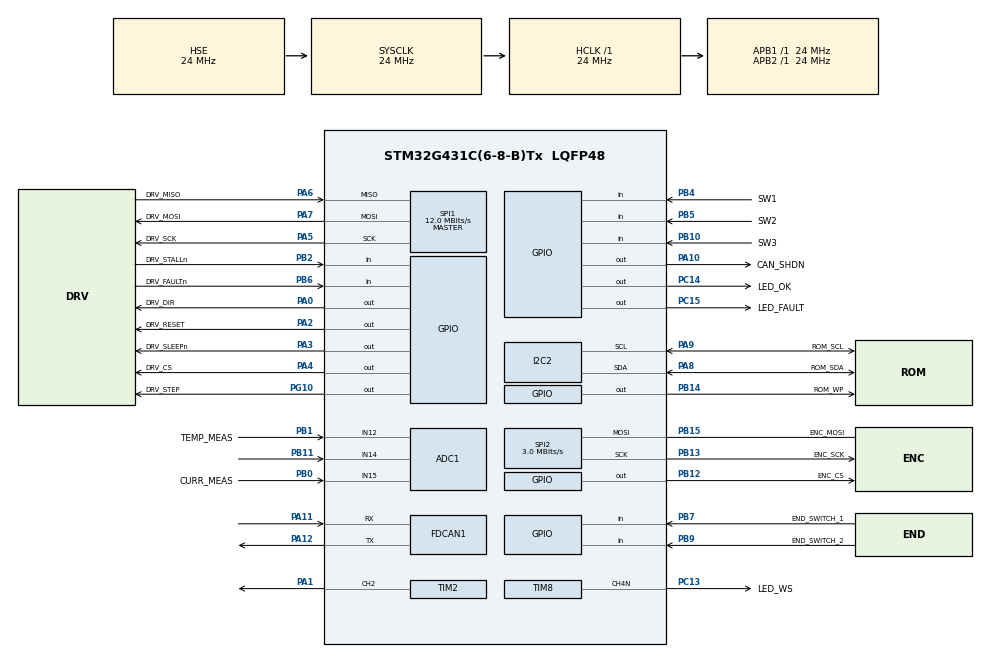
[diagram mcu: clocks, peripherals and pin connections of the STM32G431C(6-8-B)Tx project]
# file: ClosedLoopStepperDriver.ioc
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ADC1.Channel-0\#ChannelRegularConversion=ADC_CHANNEL_15
ADC1.ClockPrescaler=ADC_CLOCK_SYNC_PCLK_DIV4
ADC1.NbrOfConversionFlag=1
ADC1.OffsetNumber-0\#ChannelRegularConversion=ADC_OFFSET_NONE
ADC1.Rank-0\#ChannelRegularConversion=1
ADC1.SamplingTime-0\#ChannelRegularConversion=ADC_SAMPLETIME_2CYCLES_5
ADC1.master=1
Dma.Request0=TIM8_CH4
Dma.TIM8_CH4.0.Direction=DMA_MEMORY_TO_PERIPH
Dma.TIM8_CH4.0.EventEnable=DISABLE
Dma.TIM8_CH4.0.Instance=DMA1_Channel1
Dma.TIM8_CH4.0.MemDataAlignment=DMA_MDATAALIGN_BYTE
Dma.TIM8_CH4.0.MemInc=DMA_MINC_ENABLE
Dma.TIM8_CH4.0.Mode=DMA_NORMAL
Dma.TIM8_CH4.0.PeriphDataAlignment=DMA_PDATAALIGN_HALFWORD
Dma.TIM8_CH4.0.PeriphInc=DMA_PINC_DISABLE
Dma.TIM8_CH4.0.Polarity=HAL_DMAMUX_REQ_GEN_RISING
Dma.TIM8_CH4.0.Priority=DMA_PRIORITY_LOW
Dma.TIM8_CH4.0.RequestNumber=1
Dma.TIM8_CH4.0.SignalID=NONE
Dma.TIM8_CH4.0.SyncEnable=DISABLE
Dma.TIM8_CH4.0.SyncPolarity=HAL_DMAMUX_SYNC_NO_EVENT
Dma.TIM8_CH4.0.SyncRequestNumber=1
Dma.TIM8_CH4.0.SyncSignalID=NONE
FDCAN1.AutoRetransmission=ENABLE
FDCAN1.CalculateBaudRateNominal=500000
FDCAN1.CalculateTimeBitNominal=2000
FDCAN1.CalculateTimeQuantumNominal=41.666666666666664
FDCAN1.ClockDivider=FDCAN_CLOCK_DIV1
FDCAN1.DataSyncJumpWidth=1
FDCAN1.DataTimeSeg1=5
FDCAN1.DataTimeSeg2=4
FDCAN1.ExtFiltersNbr=1
FDCAN1.FrameFormat=FDCAN_FRAME_CLASSIC
FDCAN1.NominalPrescaler=1
FDCAN1.NominalSyncJumpWidth=12
FDCAN1.NominalTimeSeg1=35
FDCAN1.NominalTimeSeg2=12
FDCAN1.TransmitPause=ENABLE
FREERTOS.Tasks01=defaultTask,24,128,StartDefaultTask,Default,NULL,Dynamic,NULL,NULL;EncoderTask,40,128,StartEncoderTask,Default,NULL,Dynamic,NULL,NULL;StepperRegTask,16,128,StartStepperRegTask,Default,NULL,Dynamic,NULL,NULL;FeedbackTask,8,128,StartFeedbackTask,Default,NULL,Dynamic,NULL,NULL
FREERTOS.configUSE_NEWLIB_REENTRANT=1
I2C2.Timing=0x00805C87
Mcu.Family=STM32G4
Mcu.Name=STM32G431C(6-8-B)Tx
Mcu.Package=LQFP48
NVIC.DMA1_Channel1_IRQn=true\:5\:0\:false\:false\:true\:true\:false\:true\:true
NVIC.FDCAN1_IT0_IRQn=true\:5\:0\:false\:false\:true\:true\:true\:true\:true
NVIC.PriorityGroup=NVIC_PRIORITYGROUP_4
NVIC.TIM1_UP_TIM16_IRQn=true\:15\:0\:false\:false\:true\:false\:false\:true\:true
NVIC.TIM2_IRQn=true\:10\:0\:true\:false\:true\:true\:true\:true\:true
NVIC.TIM6_DAC_IRQn=true\:15\:0\:true\:false\:true\:true\:true\:true\:true
NVIC.TimeBase=TIM1_UP_TIM16_IRQn
NVIC.TimeBaseIP=TIM1
PA0.GPIO_Label=DRV_DIR
PA0.Signal=GPIO_Output
PA1.Signal=S_TIM2_CH2
PA10.GPIO_Label=CAN_SHDN
PA10.Signal=GPIO_Output
PA11.GPIO_Speed=GPIO_SPEED_FREQ_VERY_HIGH
PA11.Mode=FDCAN_Activate
PA11.Signal=FDCAN1_RX
PA12.GPIO_Speed=GPIO_SPEED_FREQ_VERY_HIGH
PA12.Mode=FDCAN_Activate
PA12.Signal=FDCAN1_TX
PA13.Mode=JTAG_4_pins
PA13.Signal=SYS_JTMS-SWDIO
PA14.Mode=JTAG_4_pins
PA14.Signal=SYS_JTCK-SWCLK
PA15.Mode=JTAG_4_pins
PA15.Signal=SYS_JTDI
PA2.GPIO_Label=DRV_RESET
PA2.Signal=GPIO_Output
PA3.GPIO_Label=DRV_SLEEPn
PA3.Signal=GPIO_Output
PA4.GPIO_Label=DRV_CS
PA4.Signal=GPIO_Output
PA5.GPIO_Label=DRV_SCK
PA5.Mode=Full_Duplex_Master
PA5.Signal=SPI1_SCK
PA6.GPIO_Label=DRV_MISO
PA6.Mode=Full_Duplex_Master
PA6.Signal=SPI1_MISO
PA7.GPIO_Label=DRV_MOSI
PA7.Mode=Full_Duplex_Master
PA7.Signal=SPI1_MOSI
PA8.GPIO_Label=ROM_SDA
PA8.GPIO_Pu=GPIO_PULLUP
PA8.Mode=I2C
PA8.Signal=I2C2_SDA
PA9.GPIO_Label=ROM_SCL
PA9.GPIO_Pu=GPIO_PULLUP
PA9.Mode=I2C
PA9.Signal=I2C2_SCL
PB0.GPIO_Label=CURR_MEAS
PB0.Mode=IN15-Single-Ended
PB0.Signal=ADC1_IN15
PB1.GPIO_Label=TEMP_MEAS
PB1.Mode=IN12-Single-Ended
PB1.Signal=ADC1_IN12
PB10.GPIO_Label=SW3
PB10.GPIO_PuPd=GPIO_PULLUP
PB10.Signal=GPIO_Input
PB11.Mode=IN14-Single-Ended
PB11.Signal=ADC1_IN14
PB12.GPIO_Label=ENC_CS
PB12.Signal=GPIO_Output
PB13.GPIO_Label=ENC_SCK
PB13.Mode=Simplex_Bidirectional_Master
PB13.Signal=SPI2_SCK
PB14.GPIO_Label=ROM_WP
PB14.GPIO_Speed=GPIO_SPEED_FREQ_MEDIUM
PB14.PinState=GPIO_PIN_SET
PB14.Signal=GPIO_Output
PB15.GPIO_Label=ENC_MOSI
PB15.Mode=Simplex_Bidirectional_Master
PB15.Signal=SPI2_MOSI
PB2.GPIO_Label=DRV_STALLn
PB2.Signal=GPIO_Input
PB3.Mode=JTAG_4_pins
PB3.Signal=SYS_JTDO-SWO
PB4.GPIO_Label=SW1
PB4.GPIO_PuPd=GPIO_PULLUP
PB4.Signal=GPIO_Input
PB5.GPIO_Label=SW2
PB5.GPIO_PuPd=GPIO_PULLUP
PB5.Signal=GPIO_Input
PB6.GPIO_Label=DRV_FAULTn
PB6.GPIO_PuPd=GPIO_NOPULL
PB6.Signal=GPIO_Input
PB7.GPIO_Label=END_SWITCH_1
PB7.GPIO_PuPd=GPIO_PULLUP
PB7.Signal=GPIO_Input
PB9.GPIO_Label=END_SWITCH_2
PB9.GPIO_PuPd=GPIO_PULLUP
PB9.Signal=GPIO_Input
PC13.GPIO_Label=LED_WS
PC13.Mode=PWM Generation4 CH4N
PC13.Signal=TIM8_CH4N
PC14-OSC32_IN.GPIO_Label=LED_OK
PC14-OSC32_IN.GPIO_ModeDefaultOutputPP=GPIO_MODE_OUTPUT_PP
PC14-OSC32_IN.GPIO_PuPd=GPIO_NOPULL
PC14-OSC32_IN.PinState=GPIO_PIN_SET
PC14-OSC32_IN.Signal=GPIO_Output
PC15-OSC32_OUT.GPIO_Label=LED_FAULT
PC15-OSC32_OUT.GPIO_ModeDefaultOutputPP=GPIO_MODE_OUTPUT_PP
PC15-OSC32_OUT.GPIO_PuPd=GPIO_NOPULL
PC15-OSC32_OUT.PinState=GPIO_PIN_SET
PC15-OSC32_OUT.Signal=GPIO_Output
PF0-OSC_IN.Mode=HSE-External-Oscillator
PF0-OSC_IN.Signal=RCC_OSC_IN
PF1-OSC_OUT.Mode=HSE-External-Oscillator
PF1-OSC_OUT.Signal=RCC_OSC_OUT
PG10-NRST.GPIO_Label=DRV_STEP
PG10-NRST.Signal=GPIO_Output
ProjectManager.HeapSize=0x200
ProjectManager.StackSize=0x400
ProjectManager.TargetToolchain=STM32CubeIDE
RCC.ADC12Freq_Value=24000000
RCC.AHBFreq_Value=24000000
RCC.APB1Freq_Value=24000000
RCC.APB1TimFreq_Value=24000000
RCC.APB2Freq_Value=24000000
RCC.APB2TimFreq_Value=24000000
RCC.CortexFreq_Value=24000000
RCC.EXTERNAL_CLOCK_VALUE=12288000
RCC.HCLKFreq_Value=24000000
RCC.HSE_VALUE=24000000
RCC.HSI48_VALUE=48000000
RCC.HSI_VALUE=16000000
RCC.LSE_VALUE=32768
RCC.PLLSourceVirtual=RCC_PLLSOURCE_HSE
RCC.SYSCLKFreq_VALUE=24000000
RCC.SYSCLKSource=RCC_SYSCLKSOURCE_HSE
RCC.USBFreq_Value=96000000
RCC.VCOOutputFreq_Value=192000000
SH.S_TIM2_CH2.0=TIM2_CH2,PWM Generation2 CH2
SPI1.BaudRatePrescaler=SPI_BAUDRATEPRESCALER_2
SPI1.CalculateBaudRate=12.0 MBits/s
SPI1.DataSize=SPI_DATASIZE_8BIT
SPI1.Direction=SPI_DIRECTION_2LINES
SPI1.Mode=SPI_MODE_MASTER
SPI1.VirtualType=VM_MASTER
SPI2.BaudRatePrescaler=SPI_BAUDRATEPRESCALER_8
SPI2.CLKPhase=SPI_PHASE_2EDGE
SPI2.CalculateBaudRate=3.0 MBits/s
SPI2.DataSize=SPI_DATASIZE_16BIT
SPI2.Direction=SPI_DIRECTION_1LINE
SPI2.Mode=SPI_MODE_MASTER
SPI2.VirtualType=VM_MASTER
TIM2.AutoReloadPreload=TIM_AUTORELOAD_PRELOAD_ENABLE
TIM2.Channel-PWM\ Generation2\ CH2=TIM_CHANNEL_2
TIM2.PeriodNoDither=3749
TIM2.Prescaler=0
TIM2.PulseNoDither_2=374
TIM6.PeriodNoDither=2399
TIM6.TIM_MasterOutputTrigger=TIM_TRGO_RESET
TIM8.Channel-PWM\ Generation4\ CH4N=TIM_CHANNEL_4
TIM8.PeriodNoDither=30
VP_FREERTOS_VS_CMSIS_V2.Mode=CMSIS_V2
VP_SYS_VS_DBSignals.Mode=DisableDeadBatterySignals
VP_SYS_VS_tim1.Mode=TIM1
VP_TIM2_VS_ClockSourceINT.Mode=Internal
VP_TIM6_VS_ClockSourceINT.Mode=Enable_Timer
VP_TIM8_VS_ClockSourceINT.Mode=Internal
board=custom

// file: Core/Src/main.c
/* USER CODE BEGIN Header */
/**
  ******************************************************************************
  * @file           : main.c
  * @brief          : Main program body
  ******************************************************************************
  * @attention
  *
  * Copyright (c) 2024 STMicroelectronics.
  * All rights reserved.
  *
  * This software is licensed under terms that can be found in the LICENSE file
  * in the root directory of this software component.
  * If no LICENSE file comes with this software, it is provided AS-IS.
  *
  ******************************************************************************
  */
/* USER CODE END Header */
#include "main.h"
#include "cmsis_os.h"
#include "adc.h"
#include "dma.h"
#include "fdcan.h"
#include "i2c.h"
#include "spi.h"
#include "tim.h"
#include "gpio.h"

/* USER CODE BEGIN Includes */

#include <stdint.h>

/* USER CODE END Includes */

/* USER CODE BEGIN PD */
#define CTRL 0x00
#define TRQ 0x01
#define BLANK 0x03
#define STATUS 0x07

#define CTRL_in	0xC21//0xca1
#define TRQ_in 0x10A
#define BLANK_in 0x180

/* USER CODE END PD */

void SystemClock_Config(void);
void MX_FREERTOS_Init(void);

int main(void)
{

  /* MCU Configuration--------------------------------------------------------*/

  /* Reset of all peripherals, Initializes the Flash interface and the Systick. */
  HAL_Init();

  /* Configure the system clock */
  SystemClock_Config();

  /* Initialize all configured peripherals */
  MX_GPIO_Init();
  MX_DMA_Init();
  MX_FDCAN1_Init();
  MX_I2C2_Init();
  MX_SPI1_Init();
  MX_SPI2_Init();
  MX_TIM8_Init();
  MX_ADC1_Init();
  MX_TIM6_Init();
  MX_TIM2_Init();
  /* USER CODE BEGIN 2 */
  HAL_TIM_Base_Start_IT(&htim2);//start licznika sprzętowego tim2 generującego PWM na wejście STEP drivera
  HAL_TIM_PWM_Start(&htim2, TIM_CHANNEL_2);

  HAL_GPIO_WritePin(DRV_SLEEPn_GPIO_Port, DRV_SLEEPn_Pin, GPIO_PIN_SET);//wyjście z trybu uśpienia
  HAL_Delay(1);
  HAL_GPIO_WritePin(DRV_RESET_GPIO_Port, DRV_RESET_Pin, GPIO_PIN_SET);
  HAL_Delay(600);
  HAL_GPIO_WritePin(DRV_RESET_GPIO_Port, DRV_RESET_Pin, GPIO_PIN_RESET);

  HAL_GPIO_WritePin(DRV_DIR_GPIO_Port, DRV_DIR_Pin, GPIO_PIN_SET);  //kierunek obrotów

	uint16_t spi_ctrl=0;
	uint8_t CTRLframe [2]={0,0};

	spi_ctrl=(0<<15)|(CTRL<<12)|CTRL_in;
	CTRLframe[0]=spi_ctrl&0xFF;
	CTRLframe[1]=(spi_ctrl>>8)&0xFF;

	HAL_GPIO_WritePin(DRV_CS_GPIO_Port, DRV_CS_Pin, GPIO_PIN_SET);
	HAL_SPI_Transmit(&hspi1, CTRLframe, 2, HAL_MAX_DELAY);
	HAL_GPIO_WritePin(DRV_CS_GPIO_Port, DRV_CS_Pin, GPIO_PIN_RESET);

	/*
	 HAL_GPIO_WritePin(DRV_CS_GPIO_Port, DRV_CS_Pin, GPIO_PIN_SET);
	HAL_SPI_Transmit(&hspi1, (uint8_t*)&spi_ctrl, 2, HAL_MAX_DELAY);
	HAL_GPIO_WritePin(DRV_CS_GPIO_Port, DRV_CS_Pin, GPIO_PIN_RESET);
	  */

  	uint16_t spi_trq=0;
    uint8_t TRQframe [2]={0,0};

  	spi_trq=(0<<15)|(TRQ<<12)|TRQ_in;
  	TRQframe[0]=spi_trq&0xFF;
  	TRQframe[1]=(spi_trq>>8)&0xFF;

  	HAL_GPIO_WritePin(DRV_CS_GPIO_Port, DRV_CS_Pin, GPIO_PIN_SET);
  	HAL_SPI_Transmit(&hspi1, TRQframe, 2, HAL_MAX_DELAY);
  	HAL_GPIO_WritePin(DRV_CS_GPIO_Port, DRV_CS_Pin, GPIO_PIN_RESET);

	/*
	HAL_GPIO_WritePin(DRV_CS_GPIO_Port, DRV_CS_Pin, GPIO_PIN_SET);
	HAL_SPI_Transmit(&hspi1, (uint8_t*)&spi_trq, 2, HAL_MAX_DELAY);
	HAL_GPIO_WritePin(DRV_CS_GPIO_Port, DRV_CS_Pin, GPIO_PIN_RESET);
	*/

  	uint16_t spi_blank=0;
	uint8_t BLANKframe [2]={0,0};

	spi_blank=(0<<15)|(BLANK<<12)|BLANK_in;
	BLANKframe[0]=spi_blank&0xFF;
	BLANKframe[1]=(spi_blank>>8)&0xFF;

	HAL_GPIO_WritePin(DRV_CS_GPIO_Port, DRV_CS_Pin, GPIO_PIN_SET);
	HAL_SPI_Transmit(&hspi1, BLANKframe, 2, HAL_MAX_DELAY);
	HAL_GPIO_WritePin(DRV_CS_GPIO_Port, DRV_CS_Pin, GPIO_PIN_RESET);

	/*
	HAL_GPIO_WritePin(DRV_CS_GPIO_Port, DRV_CS_Pin, GPIO_PIN_SET);
	HAL_SPI_Transmit(&hspi1, (uint8_t*)&spi_blank, 2, HAL_MAX_DELAY);
	HAL_GPIO_WritePin(DRV_CS_GPIO_Port, DRV_CS_Pin, GPIO_PIN_RESET);
	*/

  	uint16_t spi_status=(1<<15)|(STATUS<<12);
  	uint16_t get_status=0x00;

  	HAL_GPIO_WritePin(DRV_CS_GPIO_Port, DRV_CS_Pin, GPIO_PIN_SET);
  	HAL_SPI_TransmitReceive(&hspi1, (uint8_t*)&spi_status, (uint8_t*)&get_status, 2, HAL_MAX_DELAY);
  	HAL_GPIO_WritePin(DRV_CS_GPIO_Port, DRV_CS_Pin, GPIO_PIN_RESET);
  	get_status=get_status&0xff;
  /* USER CODE END 2 */

  /* Init scheduler */
  osKernelInitialize();

  /* Call init function for freertos objects (in cmsis_os2.c) */
  MX_FREERTOS_Init();

  /* Start scheduler */
  osKernelStart();

  /* We should never get here as control is now taken by the scheduler */

  /* Infinite loop */
  while (1)
  {

  }
}

void SystemClock_Config(void)
{
  RCC_OscInitTypeDef RCC_OscInitStruct = {0};
  RCC_ClkInitTypeDef RCC_ClkInitStruct = {0};

  /** Configure the main internal regulator output voltage
  */
  HAL_PWREx_ControlVoltageScaling(PWR_REGULATOR_VOLTAGE_SCALE1);

  /** Initializes the RCC Oscillators according to the specified parameters
  * in the RCC_OscInitTypeDef structure.
  */
  RCC_OscInitStruct.OscillatorType = RCC_OSCILLATORTYPE_HSE;
  RCC_OscInitStruct.HSEState = RCC_HSE_ON;
  RCC_OscInitStruct.PLL.PLLState = RCC_PLL_NONE;
  if (HAL_RCC_OscConfig(&RCC_OscInitStruct) != HAL_OK)
  {
    Error_Handler();
  }

  /** Initializes the CPU, AHB and APB buses clocks
  */
  RCC_ClkInitStruct.ClockType = RCC_CLOCKTYPE_HCLK|RCC_CLOCKTYPE_SYSCLK
                              |RCC_CLOCKTYPE_PCLK1|RCC_CLOCKTYPE_PCLK2;
  RCC_ClkInitStruct.SYSCLKSource = RCC_SYSCLKSOURCE_HSE;
  RCC_ClkInitStruct.AHBCLKDivider = RCC_SYSCLK_DIV1;
  RCC_ClkInitStruct.APB1CLKDivider = RCC_HCLK_DIV1;
  RCC_ClkInitStruct.APB2CLKDivider = RCC_HCLK_DIV1;

  if (HAL_RCC_ClockConfig(&RCC_ClkInitStruct, FLASH_LATENCY_0) != HAL_OK)
  {
    Error_Handler();
  }
}

void HAL_TIM_PeriodElapsedCallback(TIM_HandleTypeDef *htim)
{
  if (htim->Instance == TIM1) {
    HAL_IncTick();
  }
}

void Error_Handler(void)
{
  __disable_irq();
  while (1)
  {
  }
}
